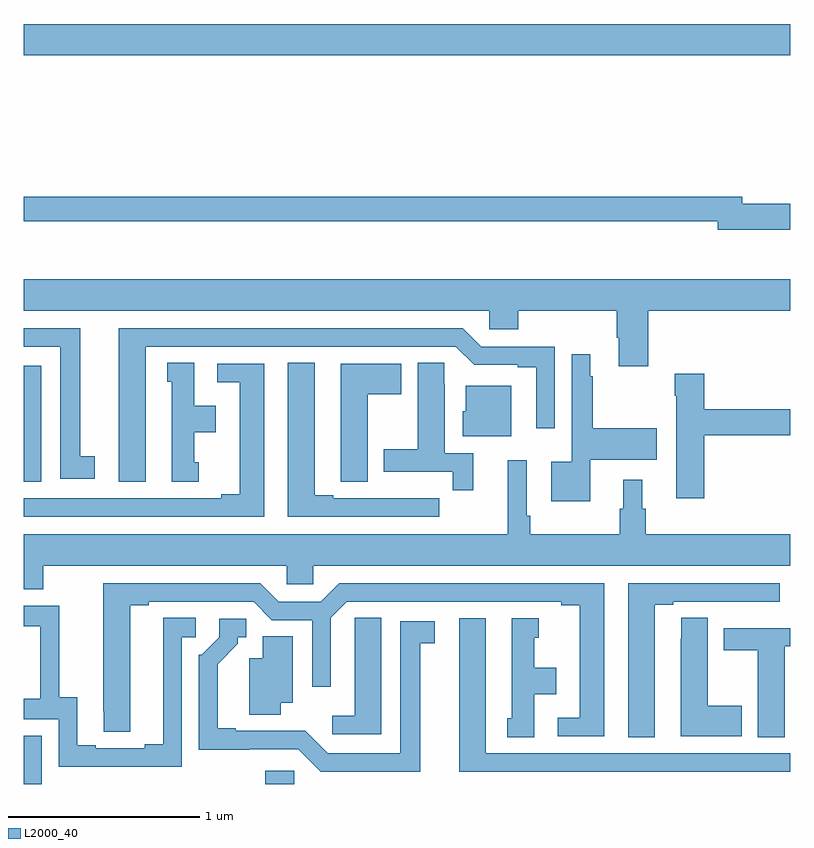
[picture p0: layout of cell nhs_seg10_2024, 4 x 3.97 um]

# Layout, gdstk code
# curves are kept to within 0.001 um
import gdstk
lib = gdstk.Library(unit=1e-6, precision=1e-09)
def R(c, l, rs):  # rectangles x0, y0, x1, y1
    for r in rs: c.add(gdstk.rectangle(r[:2], r[2:], *l))
def P(c, l, *ps):  # polygons
    for p in ps: c.add(gdstk.Polygon(p, *l))
L2000_40 = (2000, 40)

nhs_seg10_2024 = lib.new_cell('nhs_seg10_2024')
R(nhs_seg10_2024, L2000_40, [(217,1308.5,217.093,1308.752), (218.261,1308.5,218.412,1308.57), (217,1310.077,217.09,1310.685), (217,1312.304,221,1312.468)])
P(nhs_seg10_2024, L2000_40, [(221,1311.53),(220.75,1311.53),(220.75,1311.566),(217,1311.566),(217,1311.438),(220.622,1311.438),(220.622,1311.395),(221,1311.395)],
  [(220.259,1310.972),(221,1310.972),(221,1311.136),(217,1311.136),(217,1310.972),(219.429,1310.972),(219.429,1310.874),(219.581,1310.874),(219.581,1310.972),(220.094,1310.972),(220.094,1310.83),(220.106,1310.83),(220.106,1310.682),(220.259,1310.682)],
  [(217.369,1310.21),(217.294,1310.21),(217.294,1310.88),(217,1310.88),(217,1310.784),(217.19,1310.784),(217.19,1310.094),(217.369,1310.094)],
  [(217.636,1310.784),(219.255,1310.784),(219.351,1310.688),(219.578,1310.688),(219.578,1310.676),(219.674,1310.676),(219.674,1310.358),(219.771,1310.358),(219.771,1310.784),(219.387,1310.784),(219.291,1310.88),(217.496,1310.88),(217.496,1310.079),(217.636,1310.079)],
  [(219.958,1310.192),(220.303,1310.192),(220.303,1310.358),(219.97,1310.358),(219.97,1310.63),(219.958,1310.63),(219.958,1310.743),(219.861,1310.743),(219.861,1310.182),(219.752,1310.182),(219.752,1309.976),(219.958,1309.976)],
  [(217.912,1310.181),(217.888,1310.181),(217.888,1310.336),(218.002,1310.336),(218.002,1310.476),(217.888,1310.476),(217.888,1310.699),(217.748,1310.699),(217.748,1310.601),(217.772,1310.601),(217.772,1310.079),(217.912,1310.079)],
  [(219.169,1309.992),(219.056,1309.992),(219.056,1309.993),(218.89,1309.993),(218.89,1309.992),(218.614,1309.992),(218.614,1310.007),(218.518,1310.007),(218.518,1310.699),(218.378,1310.699),(218.378,1309.896),(219.169,1309.896)],
  [(219.347,1310.226),(219.196,1310.226),(219.196,1310.588),(219.195,1310.588),(219.195,1310.699),(219.056,1310.699),(219.056,1310.247),(218.879,1310.247),(218.879,1310.13),(219.238,1310.13),(219.238,1310.034),(219.347,1310.034)],
  [(218.794,1310.536),(218.971,1310.536),(218.971,1310.695),(218.654,1310.695),(218.654,1310.185),(218.655,1310.185),(218.655,1310.077),(218.794,1310.077)],
  [(218.254,1310.694),(218.01,1310.694),(218.01,1310.598),(218.126,1310.598),(218.126,1310.012),(218.03,1310.012),(218.03,1309.992),(217,1309.992),(217,1309.896),(218.254,1309.896)],
  [(220.553,1310.32),(221,1310.32),(221,1310.456),(220.553,1310.456),(220.553,1310.641),(220.399,1310.641),(220.399,1310.528),(220.406,1310.528),(220.406,1309.992),(220.553,1309.992)],
  [(219.544,1310.578),(219.308,1310.578),(219.308,1310.445),(219.29,1310.445),(219.29,1310.315),(219.544,1310.315)],
  [(221,1309.804),(220.247,1309.804),(220.247,1309.938),(220.228,1309.938),(220.228,1310.089),(220.13,1310.089),(220.13,1309.938),(220.111,1309.938),(220.111,1309.804),(219.644,1309.804),(219.644,1309.9),(219.624,1309.9),(219.624,1310.191),(219.527,1310.191),(219.527,1309.804),(217,1309.804),(217,1309.516),(217.101,1309.516),(217.101,1309.64),(218.373,1309.64),(218.373,1309.542),(218.511,1309.542),(218.511,1309.64),(221,1309.64)],
  [(220.294,1309.437),(220.39,1309.437),(220.39,1309.452),(220.666,1309.452),(220.666,1309.451),(220.832,1309.451),(220.832,1309.452),(220.945,1309.452),(220.945,1309.548),(220.154,1309.548),(220.154,1308.745),(220.294,1308.745)],
  [(220.03,1309.548),(218.645,1309.548),(218.549,1309.452),(218.331,1309.452),(218.235,1309.548),(217.415,1309.548),(217.416,1308.772),(217.555,1308.772),(217.555,1309.432),(217.651,1309.432),(217.651,1309.452),(218.199,1309.452),(218.295,1309.356),(218.505,1309.356),(218.505,1309.008),(218.601,1309.008),(218.601,1309.368),(218.685,1309.452),(219.806,1309.452),(219.806,1309.432),(219.902,1309.432),(219.902,1308.846),(219.786,1308.846),(219.786,1308.75),(220.03,1308.75)],
  [(217.824,1309.266),(217.897,1309.266),(217.897,1309.367),(217.727,1309.367),(217.727,1308.707),(217.631,1308.707),(217.631,1308.687),(217.375,1308.687),(217.375,1308.702),(217.279,1308.702),(217.279,1308.953),(217.185,1308.953),(217.185,1309.431),(217,1309.431),(217,1309.323),(217.085,1309.323),(217.085,1308.946),(217,1308.946),(217,1308.837),(217.182,1308.837),(217.182,1308.591),(217.824,1308.591)],
  [(220.747,1308.909),(220.57,1308.909),(220.57,1309.367),(220.431,1309.367),(220.431,1309.259),(220.43,1309.259),(220.43,1308.749),(220.747,1308.749)],
  [(218.866,1309.367),(218.727,1309.367),(218.727,1309.259),(218.726,1309.259),(218.726,1308.856),(218.61,1308.856),(218.61,1308.759),(218.866,1308.759)],
  [(221,1308.66),(219.412,1308.66),(219.412,1309.366),(219.272,1309.366),(219.272,1308.564),(221,1308.564)],
  [(219.664,1308.968),(219.778,1308.968),(219.778,1309.108),(219.664,1309.108),(219.664,1309.263),(219.688,1309.263),(219.688,1309.366),(219.548,1309.366),(219.548,1308.843),(219.524,1308.843),(219.524,1308.745),(219.664,1308.745)],
  [(219.07,1309.234),(219.145,1309.234),(219.145,1309.35),(218.966,1309.35),(218.966,1308.66),(218.586,1308.66),(218.468,1308.778),(218.107,1308.777),(218.107,1308.79),(218.011,1308.79),(218.011,1309.126),(218.116,1309.231),(218.116,1309.266),(218.161,1309.266),(218.161,1309.362),(218.019,1309.362),(218.019,1309.266),(217.929,1309.176),(217.914,1309.176),(217.914,1308.68),(218.433,1308.681),(218.55,1308.564),(219.07,1308.564)],
  [(220.971,1308.856),(220.972,1308.856),(220.972,1309.218),(221,1309.218),(221,1309.314),(220.655,1309.314),(220.655,1309.198),(220.832,1309.198),(220.832,1308.745),(220.971,1308.745)],
  [(218.341,1308.923),(218.404,1308.923),(218.404,1309.271),(218.246,1309.271),(218.246,1309.156),(218.177,1309.156),(218.177,1308.862),(218.341,1308.862)])

lib.write_gds('nhs_seg10_2024.gds')
